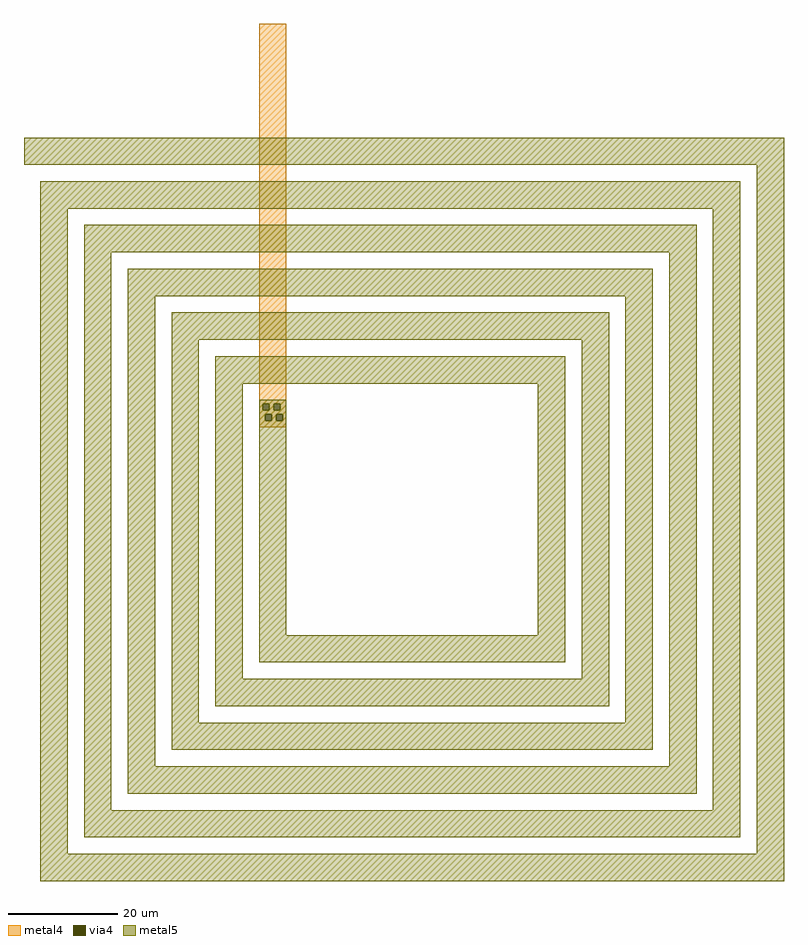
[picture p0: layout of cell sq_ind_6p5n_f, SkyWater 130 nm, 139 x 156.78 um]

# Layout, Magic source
magic
tech sky130A
<< metal4 >>
rect 2700 -3566 3200 3378
rect 2700 -3684 2766 -3566
rect 2884 -3684 2966 -3566
rect 3084 -3684 3200 -3566
rect 2700 -3766 3200 -3684
rect 2700 -3884 2816 -3766
rect 2934 -3884 3016 -3766
rect 3134 -3884 3200 -3766
rect 2700 -4000 3200 -3884
<< via4 >>
rect 2766 -3684 2884 -3566
rect 2966 -3684 3084 -3566
rect 2816 -3884 2934 -3766
rect 3016 -3884 3134 -3766
<< metal5 >>
rect -1600 800 12300 1300
rect -1300 0 11500 500
rect -1300 -11800 -800 0
rect -500 -800 10700 -300
rect -500 -11000 0 -800
rect 300 -1600 9900 -1100
rect 300 -10200 800 -1600
rect 1100 -2400 9100 -1900
rect 1100 -9400 1600 -2400
rect 1900 -3200 8300 -2700
rect 1900 -8600 2400 -3200
rect 2700 -3566 3200 -3500
rect 2700 -3684 2766 -3566
rect 2884 -3684 2966 -3566
rect 3084 -3684 3200 -3566
rect 2700 -3766 3200 -3684
rect 2700 -3884 2816 -3766
rect 2934 -3884 3016 -3766
rect 3134 -3884 3200 -3766
rect 2700 -7800 3200 -3884
rect 7800 -7800 8300 -3200
rect 2700 -8300 8300 -7800
rect 8600 -8600 9100 -2400
rect 1900 -9100 9100 -8600
rect 9400 -9400 9900 -1600
rect 1100 -9900 9900 -9400
rect 10200 -10200 10700 -800
rect 300 -10700 10700 -10200
rect 11000 -11000 11500 0
rect -500 -11500 11500 -11000
rect 11800 -11800 12300 800
rect -1300 -12300 12300 -11800
<< end >>
